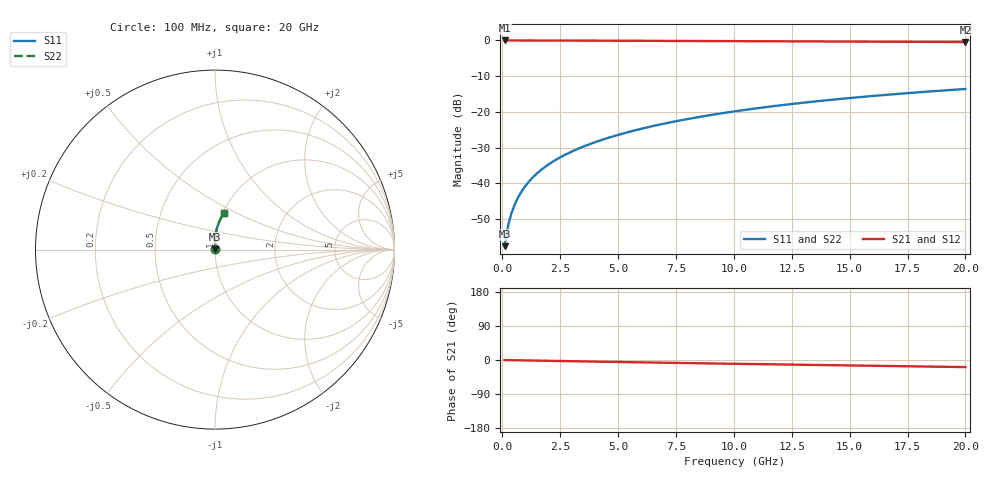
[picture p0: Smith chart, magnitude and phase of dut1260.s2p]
! Touchstone file exported from HFSS 2024.1.0
!  File:  C:/UserFiles/LocalFiles/RDL_TSV_Batchsim/temp_RDL_top_1260_1780241741.aedt
!  Generated:  11:38:10 PM May 31, 2026
!  Design:  RDL_top
!  Project:  temp_RDL_top_1260_1780241741
!  Setup:  Setup1
!  Solution:  Sweep
! Variables:
!  dtsv = 10.80580581um
!  hbump = 3um
!  htsv = 52.48um
!  ldown = 100um
!  lrdl = 231.59um
!  p = 40
!  p1 = 55.21um
!  rhole = 1um
!  t = 450um
!  tdown = 3.915915916um
!  trdl = 4.97um
!  wdown = 15.38538539um
!  wrdl = 22.4um
# GHz S MA R 50.000000
! Terminal data exported
! Port[1] = Box2_T1
! Port[2] = Box2_T2
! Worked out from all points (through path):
!   200 points, 100 MHz to 20 GHz, reference 50 ohm
!   highest |S21| = -0.01 dB at 100 MHz (marker M1); lowest = -0.5 dB at 20 GHz (marker M2)
!   group delay of S21, straight-line fit = 2.57 ps
!   lowest |S11| = -57.6 dB at 100 MHz (marker M3), VSWR 1.00, Z = 50.1 + j0.0982 ohm
!   |S11| at or under -10 dB: start of sweep to end of sweep
!   |S22| runs from -57.6 to -13.6 dB; largest |S21 - S12| = 3.5e-15
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0.1  0.001325 47.7  0.9991 -0.1  0.9991 -0.1  0.001325 47.7
! Gamma 0 0 0 0
! Port Impedance 50 0 50 0
0.2  0.002125 63.8  0.999 -0.2  0.999 -0.2  0.002125 63.8
0.3  0.002974 71.1  0.999 -0.3  0.999 -0.3  0.002974 71.1
0.4  0.003844 75.3  0.9989 -0.4  0.9989 -0.4  0.003844 75.3
0.5  0.004729 78.0  0.9988 -0.6  0.9988 -0.6  0.004729 78.0
0.7  0.006521 81.4  0.9987 -0.8  0.9987 -0.8  0.006521 81.4
0.8  0.007425 82.5  0.9986 -0.9  0.9986 -0.9  0.007425 82.5
1  0.009242 84.0  0.9985 -1.1  0.9985 -1.1  0.009242 84.0
1.2  0.01107 85.1  0.9983 -1.3  0.9983 -1.3  0.01107 85.1
1.4  0.0129 85.9  0.9981 -1.5  0.9981 -1.5  0.0129 85.9
1.7  0.01567 86.8  0.9977 -1.9  0.9977 -1.9  0.01567 86.8
2  0.01845 87.4  0.9972 -2.2  0.9972 -2.2  0.01845 87.4
2.7  0.02504 88.4  0.996 -2.9  0.996 -2.9  0.02504 88.4
3.5  0.03273 89.0  0.9943 -3.8  0.9943 -3.8  0.03273 89.0
4.2  0.03963 89.3  0.9926 -4.5  0.9926 -4.5  0.03963 89.3
5  0.04771 89.3  0.9905 -5.3  0.9905 -5.3  0.04771 89.3
6.8  0.06657 88.8  0.9856 -7.0  0.9856 -7.0  0.06657 88.8
8.4  0.0839 87.7  0.9812 -8.5  0.9812 -8.5  0.08389 87.7
10.1  0.1026 86.3  0.9766 -10.1  0.9766 -10.1  0.1026 86.3
13.4  0.139 83.0  0.9677 -13.0  0.9677 -13.0  0.139 83.0
16.7  0.1747 79.7  0.9587 -15.9  0.9587 -15.9  0.1747 79.6
20  0.2093 76.3  0.9494 -18.7  0.9494 -18.7  0.2093 76.3
